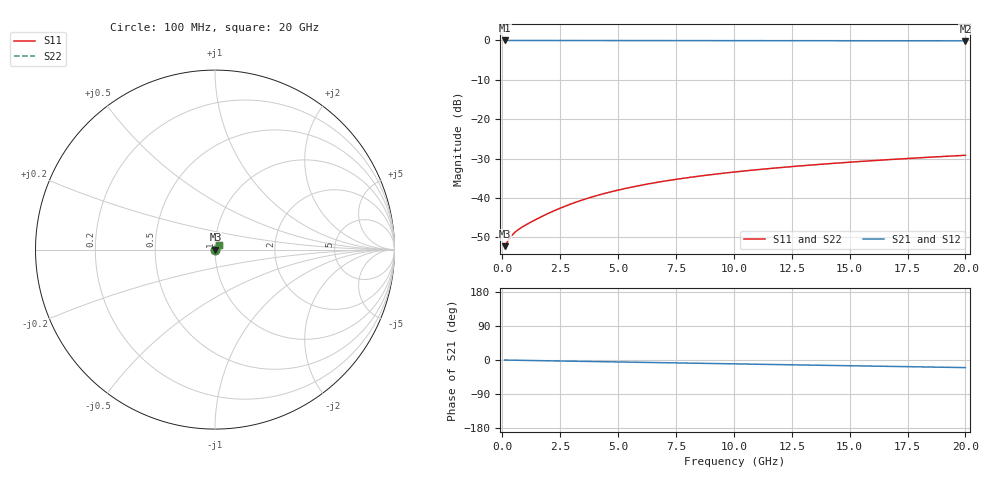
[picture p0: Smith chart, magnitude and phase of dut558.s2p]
! Touchstone file exported from HFSS 2026.1.0
!  File:  C:/ffzhzh/LocalFiles/Ansys_Project_Files/temp_train_TMRDL_558_1783007804_53980.aedt
!  Generated:  11:58:07 PM Jul  2, 2026
!  Design:  TMRDL
!  Project:  temp_train_TMRDL_558_1783007804_53980
! Variables:
!  h_bsmrdl = 2um
!  h_ox = 20um
!  h_rdl = 5um
!  h_sub = 80um
!  h_tmrdl = 3.95um
!  h_tsv = 80um
!  h_via = 3um
!  l_bsmrdl = 300um
!  l_sub = 758.07um
!  l_tmrdl = 358.07um
!  m_sub = 200um
!  pitch = 18.82um
!  r_tsv = 6um
!  s_tmrdl = 10um
!  w_bsmrdl = 18um
!  w_sub = 500um
!  w_tmrdl = 14.44um
!  x_tsv_center1 = 365.29um
!  x_tsv_center2 = 683.29um
!  x_tsv_center3 = 1055.8um
!  x_tsv_center4 = 1373.8um
!  x_tsv_center5 = 1746.31um
!  x_tsv_center6 = 2064.31um
# GHz S MA R 50.000000
! Terminal data exported
! Port[1] = TM_RDL1_1_T1
! Port[2] = TM_RDL1_1_T2
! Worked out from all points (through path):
!   200 points, 100 MHz to 20 GHz, reference 50 ohm
!   highest |S21| = -0.02 dB at 100 MHz (marker M1); lowest = -0.1 dB at 20 GHz (marker M2)
!   group delay of S21, straight-line fit = 2.77 ps
!   lowest |S11| = -52.2 dB at 100 MHz (marker M3), VSWR 1.00, Z = 50.2 + j0.051 ohm
!   |S11| at or under -10 dB: start of sweep to end of sweep
!   |S22| runs from -52.2 to -29.2 dB; largest |S21 - S12| = 3.6e-15
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0.1  0.002443 12.0  0.9976 -0.1  0.9976 -0.1  0.002443 12.0
! Gamma 0 0 0 0
! Port Impedance 50 0 50 0
0.3  0.003026 25.4  0.9973 -0.3  0.9973 -0.3  0.003026 25.4
0.4  0.003313 28.4  0.9971 -0.5  0.9971 -0.5  0.003313 28.4
0.5  0.003562 30.6  0.9969 -0.6  0.9969 -0.6  0.003562 30.6
0.7  0.003978 34.1  0.9967 -0.8  0.9967 -0.8  0.003977 34.1
0.9  0.004341 37.2  0.9966 -1.0  0.9966 -1.0  0.004341 37.3
1.5  0.005421 45.4  0.9963 -1.6  0.9963 -1.6  0.005421 45.5
2.2  0.006799 51.8  0.996 -2.3  0.996 -2.3  0.006798 51.8
2.8  0.008042 55.0  0.9957 -2.9  0.9957 -2.9  0.008042 55.0
3.5  0.009512 57.1  0.9953 -3.7  0.9953 -3.7  0.009511 57.1
4.2  0.01096 58.2  0.9949 -4.4  0.9949 -4.4  0.01096 58.2
5  0.01258 58.6  0.9944 -5.2  0.9944 -5.2  0.01258 58.7
5.9  0.01432 58.6  0.9938 -6.1  0.9938 -6.1  0.01432 58.6
6.8  0.01599 58.2  0.9932 -7.0  0.9932 -7.0  0.01598 58.2
7.5  0.01722 57.8  0.9927 -7.7  0.9927 -7.7  0.01722 57.8
8.3  0.01858 57.2  0.9922 -8.5  0.9922 -8.5  0.01858 57.3
10.1  0.02146 55.9  0.9911 -10.3  0.9911 -10.3  0.02146 55.9
11.7  0.02385 54.7  0.9902 -11.9  0.9902 -11.9  0.02385 54.7
13.4  0.02626 53.4  0.9894 -13.6  0.9894 -13.6  0.02626 53.4
15  0.02843 52.2  0.9886 -15.1  0.9886 -15.1  0.02843 52.3
16.7  0.03066 51.0  0.9879 -16.8  0.9879 -16.8  0.03066 51.0
20  0.0348 48.5  0.9866 -20.1  0.9866 -20.1  0.03479 48.6
